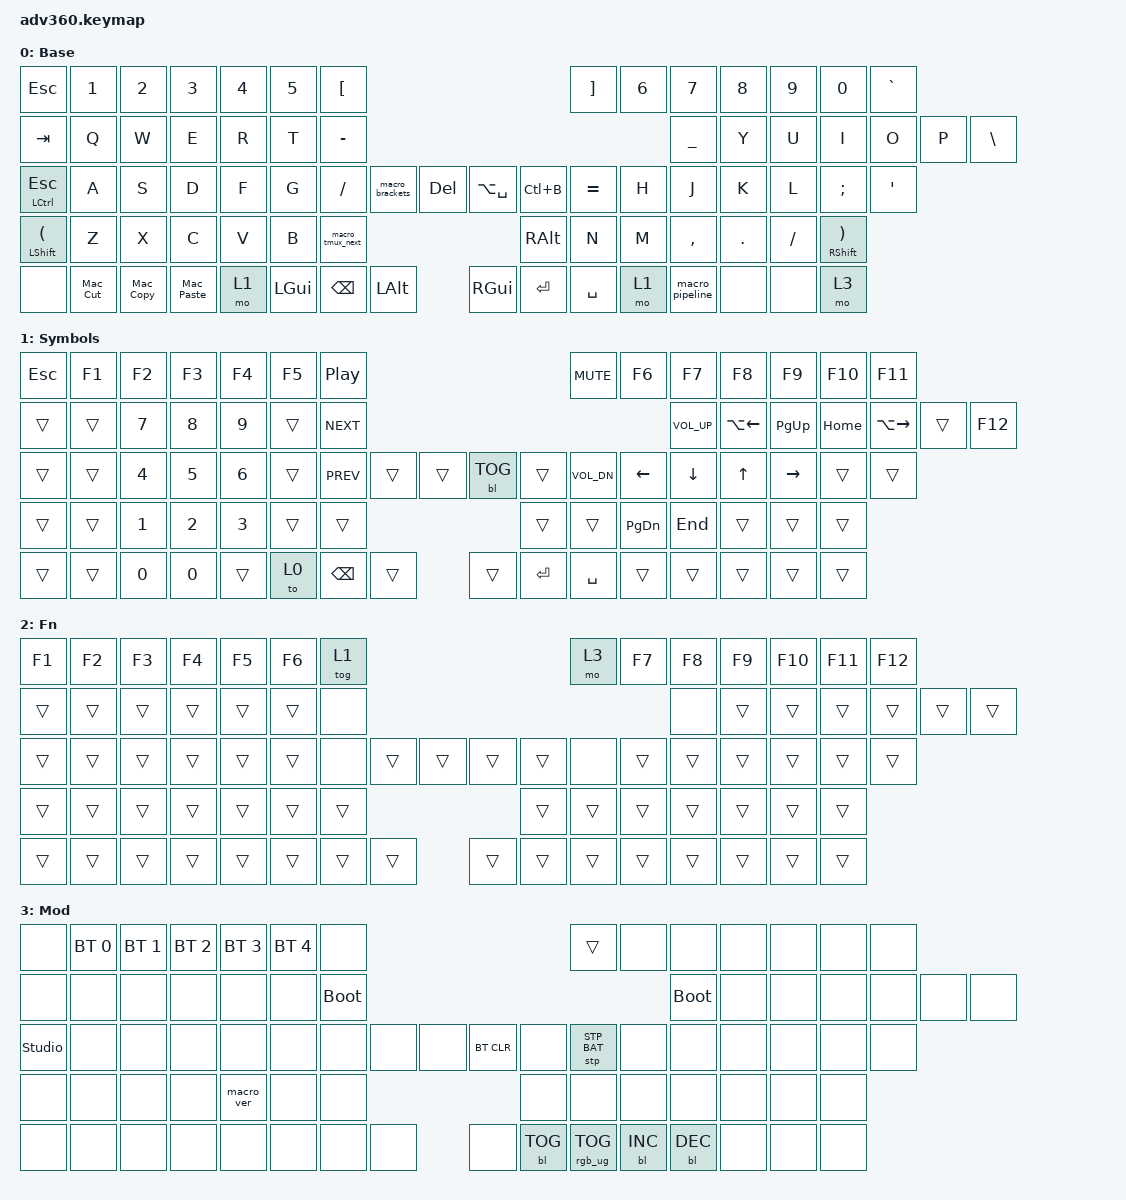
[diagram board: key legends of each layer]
#include <behaviors.dtsi>
#include <dt-bindings/zmk/keys.h>
#include <dt-bindings/zmk/bt.h>
#include <dt-bindings/zmk/rgb.h>
#include <dt-bindings/zmk/stp.h>
#include <dt-bindings/zmk/backlight.h>
#include <dt-bindings/zmk/pointing.h>

/ {
    behaviors {
      #include "macros.dtsi"
      #include "version.dtsi"

      hm: homerow_mods {
          compatible = "zmk,behavior-hold-tap";
          label = "HOMEROW_MODS";
          #binding-cells = <2>;
          tapping-term-ms = <200>;
          quick_tap_ms = <175>;
          flavor = "tap-preferred";
          bindings = <&kp>, <&kp>;
      };
    };

  keymap {
    compatible = "zmk,keymap";

    default_layer {
      display-name = "Base";
      bindings = <
        &kp ESC   &kp N1    &kp N2   &kp N3   &kp N4     &kp N5 &kp LBKT                                                          &kp RBKT &kp N6 &kp N7 &kp N8    &kp N9   &kp N0   &kp GRAVE
        &kp TAB   &kp Q     &kp W    &kp E    &kp R      &kp T  &kp MINUS                                                         &kp UNDERSCORE &kp Y  &kp U  &kp I     &kp O    &kp P    &kp BSLH
        &mt LCTRL ESC &kp A &kp S    &kp D    &kp F      &kp G  &kp FSLH &macro_brackets &kp DEL &kp LA(SPACE) &kp LC(B) &kp EQUAL &kp H  &kp J  &kp K     &kp L    &kp SEMI &kp SQT
        &mt LSHIFT LPAR &kp Z &kp X  &kp C    &kp V      &kp B                      &macro_tmux_next &kp RALT                        &kp N  &kp M  &kp COMMA &kp DOT  &kp FSLH &mt RSHIFT RPAR
        &none     &Mac_Cut &Mac_Copy &Mac_Paste &mo 1              &kp LGUI &kp BSPC &kp LALT &kp RGUI &kp ENTER &kp SPACE              &mo 1 &macro_pipeline &none &none &mo 3
      >;
    };
    symbols {
      display-name = "Symbols";
      bindings = <
        &kp ESC   &kp F1    &kp F2   &kp F3   &kp F4     &kp F5 &kp C_PLAY_PAUSE                                                   &kp C_MUTE &kp F6 &kp F7 &kp F8    &kp F9   &kp F10  &kp F11
        &trans    &trans    &kp N7   &kp N8   &kp N9     &trans &kp C_NEXT                                                        &kp C_VOL_UP &kp LA(LEFT) &kp PG_UP &kp HOME &kp LA(RIGHT) &trans &kp F12
        &trans    &trans    &kp N4   &kp N5   &kp N6     &trans &kp C_PREV &trans &trans &bl BL_TOG &trans                      &kp C_VOL_DN &kp LEFT &kp DOWN &kp UP &kp RIGHT &trans &trans
        &trans    &trans    &kp N1   &kp N2   &kp N3     &trans                   &trans &trans                                    &trans &kp PG_DN &kp END &trans &trans &trans
        &trans    &trans    &kp N0   &kp N0   &trans               &to 0 &kp BSPC &trans &trans &kp ENTER &kp SPACE                 &trans &trans &trans &trans &trans
      >;
    };
    fn {
      display-name = "Fn";
      bindings = <
        &kp F1 &kp F2 &kp F3 &kp F4 &kp F5 &kp F6 &tog 1                                           &mo 3 &kp F7 &kp F8 &kp F9 &kp F10 &kp F11 &kp F12
        &trans &trans &trans &trans &trans &trans  &none                                           &none &trans &trans &trans &trans  &trans  &trans
        &trans &trans &trans &trans &trans &trans  &none        &trans &trans &trans &trans        &none &trans &trans &trans &trans  &trans  &trans
        &trans &trans &trans &trans &trans &trans                      &trans &trans                     &trans &trans &trans &trans  &trans  &trans
        &trans &trans &trans &trans &trans               &trans &trans &trans &trans &trans &trans              &trans &trans &trans  &trans  &trans
      >;
    };
    mod {
      display-name = "Mod";
      bindings = <
        &none &bt BT_SEL 0 &bt BT_SEL 1 &bt BT_SEL 2 &bt BT_SEL 3 &bt BT_SEL 4 &none                                                                     &trans                 &none        &none        &none        &none &none &none
        &none &none        &none        &none        &none        &none        &bootloader                                                               &bootloader            &none        &none        &none        &none &none &none
        &studio_unlock &none        &none        &none        &none        &none        &none                   &none &none &bt BT_CLR &none                      &stp STP_BAT &none        &none        &none        &none &none &none
        &none &none        &none        &none        &macro_ver   &none                                      &none &none                                                        &none        &none        &none        &none &none &none
        &none &none        &none        &none        &none                                       &none &none &none &none      &bl BL_TOG &rgb_ug RGB_TOG                                     &bl BL_INC   &bl BL_DEC   &none &none &none
      >;
    };
    extra1 { 
      display-name = "Red";    
      status = "reserved";
    };

    extra2 { 
      display-name = "Purple";    
      status = "reserved";
    };

    extra3 { 
      display-name = "Cyan";    
      status = "reserved";
    };

    extra4 { 
      display-name = "Yellow";    
      status = "reserved";
    };
  };
};
